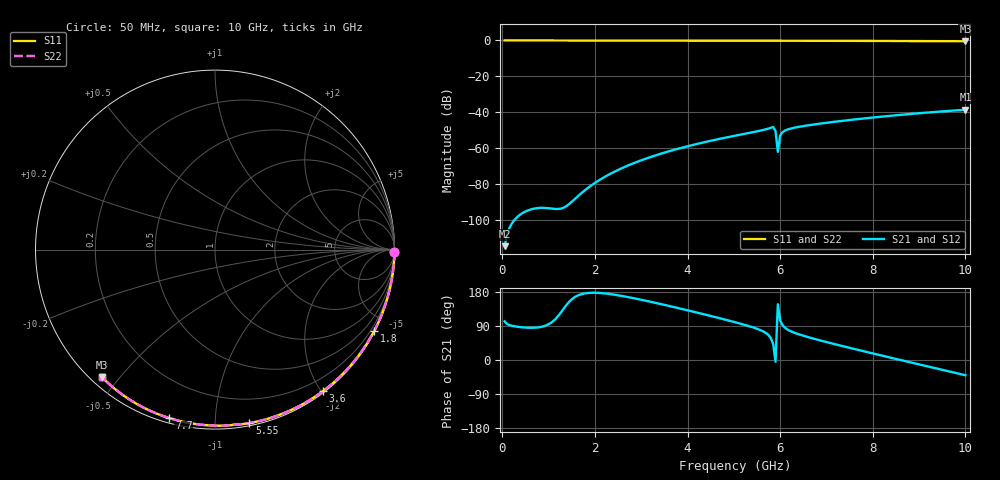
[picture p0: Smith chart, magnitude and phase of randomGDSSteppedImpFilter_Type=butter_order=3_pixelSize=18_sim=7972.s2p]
! freq	dB(S11)	phase(S11)	dB(S12)	phase(S12)
!  dB(S21)	phase(S21)	dB(S22)	phase(S22)
!S-par simulation data
#  GHz  S  DB  R 50
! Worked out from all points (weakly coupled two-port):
!   200 points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, 50 MHz to 10 GHz, reference 50 ohm
!   highest |S21| = -38.60 dB at 10 GHz (marker M1); lowest = -114.6 dB at 50 MHz (marker M2)
!   lowest |S11| = -0.4 dB at 10 GHz (marker M3), VSWR 38.83, Z = 1.55 - j22.5 ohm
!   |S11| at or under -10 dB: nowhere
!   |S22| runs from -0.4 to 0.0 dB; largest |S21 - S12| = 0
!   S11 on the Smith chart (normalised r, x): 50 MHz: open; 1.8 GHz: 0.04, -4.17; 3.6 GHz: 0.02, -2.02; 5.55 GHz: 0.02, -1.22; 7.7 GHz: 0.02, -0.76; 10 GHz: 0.03, -0.45
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0.05  -0.00 -0.8  -114.62 102.0  -114.62 102.0  -0.00 -0.8
0.9  -0.02 -13.6  -93.29 89.4  -93.29 89.4  -0.02 -13.6
1.75  -0.03 -26.2  -84.17 174.9  -84.17 174.9  -0.03 -26.2
1.8  -0.03 -27.0  -83.12 176.0  -83.12 176.0  -0.03 -27.0
1.95  -0.04 -29.2  -80.25 177.5  -80.25 177.5  -0.04 -29.2
2.35  -0.04 -35.0  -74.06 173.6  -74.06 173.6  -0.04 -35.0
2.65  -0.05 -39.3  -70.38 167.5  -70.38 167.5  -0.05 -39.3
3.4  -0.07 -49.9  -63.28 148.3  -63.28 148.3  -0.07 -49.9
3.6  -0.07 -52.7  -61.74 142.7  -61.74 142.7  -0.07 -52.7
4.25  -0.09 -61.6  -57.36 123.8  -57.36 123.8  -0.09 -61.6
5.05  -0.11 -72.3  -52.94 99.0  -52.94 99.0  -0.11 -72.3
5.55  -0.13 -78.8  -50.38 80.1  -50.38 80.1  -0.13 -78.8
5.85  -0.15 -82.7  -48.22 41.5  -48.22 41.5  -0.15 -82.7
5.9  -0.17 -83.3  -50.46 -4.5  -50.46 -4.5  -0.17 -83.3
5.95  -0.17 -83.8  -62.07 147.1  -62.07 147.1  -0.18 -83.8
6  -0.16 -84.4  -53.03 104.1  -53.03 104.1  -0.16 -84.4
6.05  -0.16 -85.0  -51.15 92.2  -51.15 92.2  -0.16 -85.0
6.25  -0.16 -87.6  -48.94 74.7  -48.94 74.7  -0.16 -87.6
6.7  -0.18 -93.1  -46.92 57.0  -46.92 57.0  -0.18 -93.1
7.7  -0.24 -105.2  -43.75 26.1  -43.75 26.1  -0.24 -105.2
8.35  -0.29 -112.8  -42.05 7.1  -42.05 7.1  -0.29 -112.8
10  -0.45 -131.6  -38.60 -40.2  -38.60 -40.2  -0.45 -131.6
